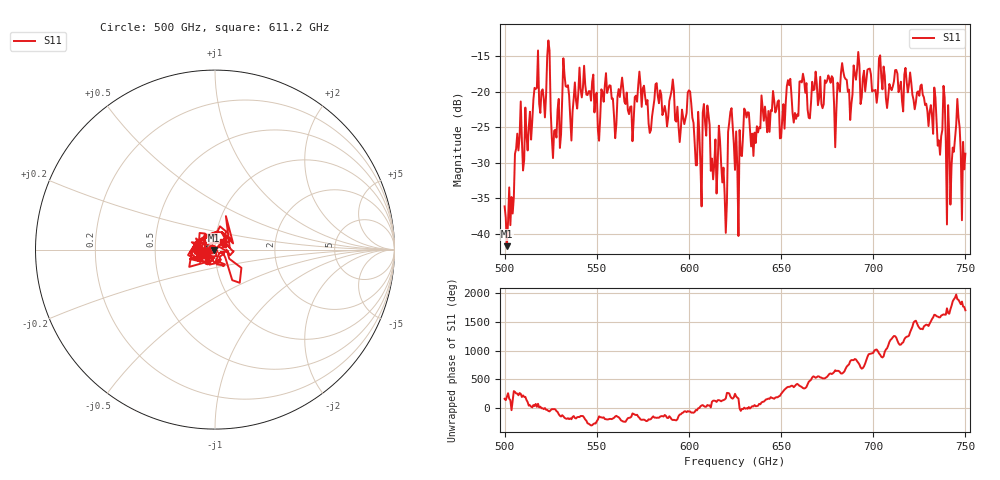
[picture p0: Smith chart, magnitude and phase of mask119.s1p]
!Created with skrf (http://scikit-rf.org).
# GHz S MA R 50.0
!freq magS11 angS11
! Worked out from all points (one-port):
!   401 points, 500 GHz to 750 GHz, reference 50 ohm
!   lowest |S11| = -41.7 dB at 501.2 GHz (marker M1), VSWR 1.02, Z = 49.2 - j0.2 ohm
!   |S11| at or under -10 dB: start of sweep to end of sweep
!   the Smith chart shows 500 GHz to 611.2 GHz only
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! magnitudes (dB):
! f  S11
! 500 GHz  -36.1
! 501.2 GHz  -41.7
! 507.5 GHz  -28.2
! 511.2 GHz  -22.2
! 516.9 GHz  -19.6
! 523.8 GHz  -12.7
! 526.9 GHz  -25.5
! 531.2 GHz  -21.0
! 562.5 GHz  -20.7
! 579.4 GHz  -25.4
! 590.6 GHz  -19.8
! 593.8 GHz  -22.1
! 600.6 GHz  -19.9
! 605.6 GHz  -25.7
! 609.4 GHz  -26.2
! 619.4 GHz  -34.4
! 622.5 GHz  -22.8
! 625 GHz  -31.0
! 656.2 GHz  -23.0
! 680 GHz  -22.6
! 683.8 GHz  -17.1
! 687.5 GHz  -23.9
! 690.6 GHz  -18.3
! 718.8 GHz  -20.1
! 738.1 GHz  -19.1
! 741.2 GHz  -26.1
! 745.6 GHz  -21.0
! 750 GHz  -28.7
